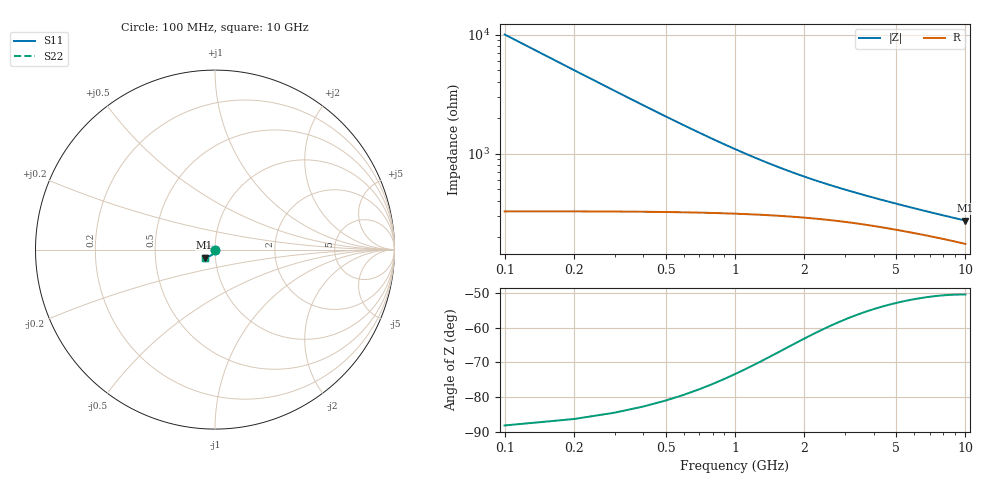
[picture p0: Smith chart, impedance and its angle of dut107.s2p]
! Touchstone file exported from HFSS 2024.1.0
!  File:  C:/UserFiles/LocalFiles/RDL_TSV_Batchsim/temp_TSV1_107_1778827326.aedt
!  Generated:  02:46:58 PM May 15, 2026
!  Design:  TSV1
!  Project:  temp_TSV1_107_1778827326
!  Setup:  Setup1
!  Solution:  Sweep
! Variables:
!  dtsv = 22.94um
!  hbump = 3um
!  htsv = 56.75um
!  lrdl = 252.1521522um
!  p = 40
!  p1 = 55.19um
!  t = 500um
!  trdl = 3um
!  wrdl = 24.89489489um
# GHz S MA R 50.000000
! Terminal data exported
! Port[1] = TSV22_T1
! Port[2] = TSV22_T2
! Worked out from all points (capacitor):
!   100 points, 100 MHz to 10 GHz, reference 50 ohm
!   read as one part in shunt: C = 158 fF near 100 MHz
!   lowest |Z| = 273 ohm at 10 GHz (marker M1)
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0.1  0.002259 -90.5  0.9998 -0.2  0.9998 -0.2  0.002259 -90.5
! Gamma 0 0 0 0
! Port Impedance 50 0 50 0
0.2  0.004505 -93.3  0.9996 -0.3  0.9996 -0.3  0.004505 -93.3
0.3  0.006728 -95.6  0.9992 -0.5  0.9992 -0.5  0.006728 -95.6
0.4  0.008917 -97.7  0.9986 -0.6  0.9986 -0.6  0.008917 -97.7
0.5  0.01106 -99.8  0.9979 -0.7  0.9979 -0.7  0.01106 -99.8
0.6  0.01315 -101.7  0.997 -0.9  0.997 -0.9  0.01315 -101.7
0.7  0.01518 -103.6  0.9961 -1.0  0.9961 -1.0  0.01518 -103.6
0.8  0.01714 -105.3  0.9951 -1.1  0.9951 -1.1  0.01714 -105.3
0.9  0.01903 -107.1  0.9941 -1.3  0.9941 -1.3  0.01903 -107.1
1.1  0.02258 -110.2  0.9919 -1.5  0.9919 -1.5  0.02258 -110.2
1.4  0.02734 -114.5  0.9884 -1.7  0.9884 -1.7  0.02734 -114.5
1.6  0.03016 -116.9  0.9861 -1.9  0.9861 -1.9  0.03016 -116.9
1.8  0.03273 -119.1  0.9839 -2.0  0.9839 -2.0  0.03273 -119.1
2.1  0.03617 -122.0  0.9808 -2.2  0.9808 -2.2  0.03617 -122.0
2.5  0.04013 -125.1  0.977 -2.5  0.977 -2.5  0.04013 -125.1
2.9  0.04354 -127.6  0.9735 -2.6  0.9735 -2.6  0.04354 -127.6
3.4  0.04725 -130.0  0.9698 -2.9  0.9698 -2.9  0.04725 -130.0
4.2  0.05228 -133.0  0.9646 -3.1  0.9646 -3.1  0.05228 -133.0
5.1  0.05704 -135.4  0.9598 -3.5  0.9598 -3.5  0.05704 -135.4
6.7  0.06391 -138.4  0.9529 -3.9  0.9529 -3.9  0.06391 -138.4
8.4  0.06968 -140.5  0.9471 -4.4  0.9471 -4.4  0.06968 -140.5
10  0.07413 -141.8  0.9428 -4.9  0.9428 -4.9  0.07413 -141.8
